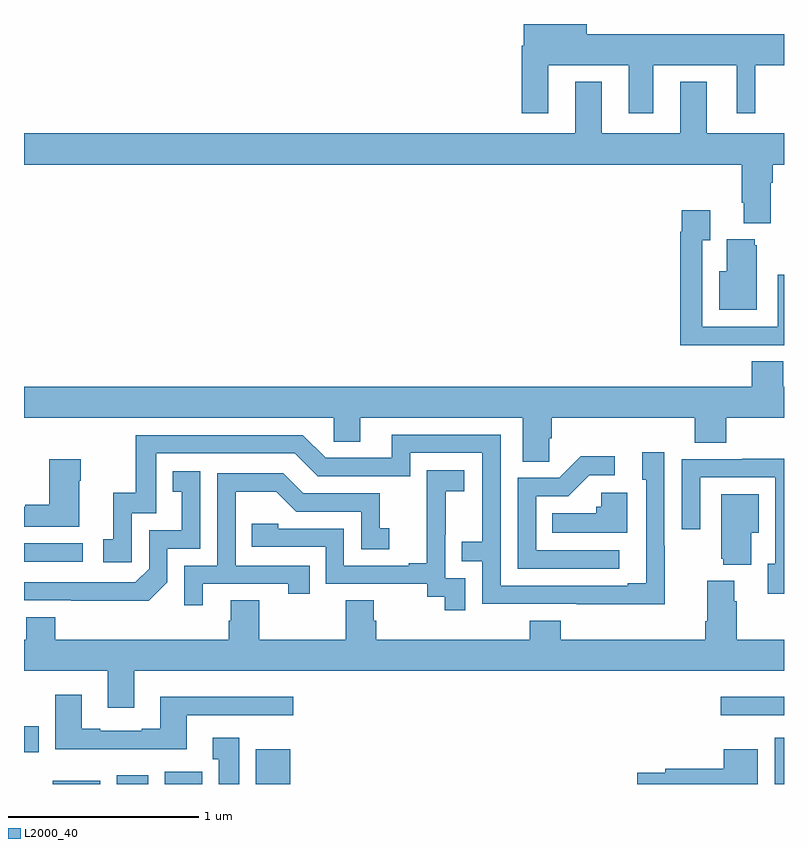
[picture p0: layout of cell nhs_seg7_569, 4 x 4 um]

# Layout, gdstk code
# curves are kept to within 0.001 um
import gdstk
lib = gdstk.Library(unit=1e-6, precision=1e-09)
def R(c, l, rs):  # rectangles x0, y0, x1, y1
    for r in rs: c.add(gdstk.rectangle(r[:2], r[2:], *l))
def P(c, l, *ps):  # polygons
    for p in ps: c.add(gdstk.Polygon(p, *l))
L2000_40 = (2000, 40)

nhs_seg7_569 = lib.new_cell('nhs_seg7_569')
R(nhs_seg7_569, L2000_40, [(155.15,1020,155.401,1020.016), (155.489,1020,155.653,1020.046), (155.741,1020,155.938,1020.064), (156.221,1020,156.4,1020.184), (158.951,1020,159,1020.244), (155,1020.166,155.077,1020.303), (158.667,1020.363,159,1020.46), (155,1021.17,155.308,1021.266)])
P(nhs_seg7_569, L2000_40, [(157.759,1023.782),(158.183,1023.782),(158.183,1023.531),(158.311,1023.531),(158.311,1023.782),(158.75,1023.782),(158.75,1023.531),(158.848,1023.531),(158.848,1023.782),(159,1023.782),(159,1023.946),(157.963,1023.946),(157.963,1024),(157.631,1024),(157.631,1023.886),(157.619,1023.886),(157.619,1023.531),(157.759,1023.531)],
  [(158.929,1023.164),(158.942,1023.164),(158.942,1023.26),(159,1023.26),(159,1023.424),(158.593,1023.424),(158.593,1023.697),(158.453,1023.697),(158.453,1023.424),(158.041,1023.424),(158.041,1023.697),(157.901,1023.697),(157.901,1023.424),(155,1023.424),(155,1023.26),(158.777,1023.26),(158.777,1023.058),(158.789,1023.058),(158.789,1022.951),(158.929,1022.951)],
  [(158.747,1022.31),(159,1022.31),(159,1022.68),(158.967,1022.68),(158.967,1022.406),(158.571,1022.406),(158.571,1022.863),(158.611,1022.863),(158.611,1023.019),(158.463,1023.019),(158.463,1022.906),(158.455,1022.906),(158.455,1022.309),(158.747,1022.309)],
  [(158.857,1022.835),(158.846,1022.835),(158.846,1022.866),(158.699,1022.866),(158.699,1022.698),(158.66,1022.698),(158.66,1022.495),(158.857,1022.495)],
  [(157.764,1021.819),(157.778,1021.819),(157.778,1021.928),(158.531,1021.928),(158.531,1021.795),(158.696,1021.795),(158.696,1021.928),(159,1021.928),(159,1022.092),(158.996,1022.092),(158.996,1022.225),(158.831,1022.225),(158.831,1022.092),(155,1022.092),(155,1021.928),(156.63,1021.928),(156.63,1021.801),(156.769,1021.801),(156.769,1021.928),(157.625,1021.928),(157.625,1021.696),(157.764,1021.696)],
  [(158.373,1021.253),(158.37,1021.253),(158.37,1021.747),(158.255,1021.747),(158.255,1021.602),(158.274,1021.602),(158.274,1021.057),(158.177,1021.057),(158.177,1021.044),(157.509,1021.044),(157.509,1021.839),(156.935,1021.839),(156.935,1021.716),(156.588,1021.716),(156.468,1021.836),(155.589,1021.836),(155.589,1021.534),(155.471,1021.534),(155.471,1021.287),(155.418,1021.287),(155.418,1021.167),(155.568,1021.167),(155.568,1021.425),(155.697,1021.425),(155.697,1021.74),(156.426,1021.74),(156.546,1021.62),(157.032,1021.62),(157.032,1021.743),(157.413,1021.743),(157.413,1021.274),(157.303,1021.274),(157.303,1021.173),(157.413,1021.173),(157.413,1020.948),(158.373,1020.947)],
  [(158.134,1021.23),(157.695,1021.23),(157.695,1021.515),(157.864,1021.515),(157.975,1021.626),(158.11,1021.626),(158.11,1021.724),(157.931,1021.724),(157.818,1021.611),(157.599,1021.611),(157.599,1021.134),(158.134,1021.134)],
  [(159,1021.712),(158.779,1021.712),(158.779,1021.71),(158.463,1021.71),(158.463,1021.341),(158.559,1021.341),(158.559,1021.614),(158.955,1021.614),(158.955,1021.158),(158.915,1021.158),(158.915,1021.002),(159,1021.002)],
  [(155.29,1021.595),(155.298,1021.595),(155.298,1021.708),(155.132,1021.708),(155.132,1021.469),(155.006,1021.469),(155.006,1021.459),(155,1021.459),(155,1021.355),(155.29,1021.355)],
  [(157.323,1021.083),(157.218,1021.083),(157.218,1021.313),(157.22,1021.313),(157.22,1021.541),(157.318,1021.541),(157.318,1021.651),(157.12,1021.651),(157.12,1021.445),(157.121,1021.445),(157.121,1021.162),(157.025,1021.162),(157.025,1021.149),(156.684,1021.149),(156.684,1021.344),(156.339,1021.344),(156.339,1021.371),(156.199,1021.371),(156.199,1021.248),(156.588,1021.248),(156.588,1021.053),(157.122,1021.053),(157.122,1020.985),(157.215,1020.985),(157.215,1020.915),(157.323,1020.915)],
  [(155.754,1021.062),(155.754,1021.239),(155.928,1021.239),(155.928,1021.645),(155.782,1021.645),(155.782,1021.539),(155.831,1021.539),(155.831,1021.335),(155.658,1021.335),(155.658,1021.134),(155.586,1021.062),(155,1021.062),(155,1020.966),(155.656,1020.965)],
  [(155.941,1021.053),(156.392,1021.053),(156.392,1021.002),(156.503,1021.002),(156.503,1021.149),(156.114,1021.149),(156.114,1021.538),(156.328,1021.538),(156.432,1021.434),(156.774,1021.434),(156.774,1021.236),(156.922,1021.236),(156.922,1021.345),(156.873,1021.345),(156.873,1021.53),(156.469,1021.53),(156.364,1021.635),(156.018,1021.635),(156.018,1021.149),(155.844,1021.149),(155.844,1020.942),(155.941,1020.942)],
  [(158.176,1021.534),(158.037,1021.534),(158.037,1021.458),(158.011,1021.458),(158.011,1021.426),(157.78,1021.426),(157.78,1021.322),(158.176,1021.322)],
  [(158.827,1021.322),(158.866,1021.322),(158.866,1021.525),(158.669,1021.525),(158.669,1021.185),(158.681,1021.185),(158.681,1021.154),(158.827,1021.154)],
  [(155.581,1020.596),(159,1020.596),(159,1020.76),(158.75,1020.76),(158.75,1020.962),(158.737,1020.962),(158.737,1021.069),(158.597,1021.069),(158.597,1020.856),(158.585,1020.856),(158.585,1020.76),(157.826,1020.76),(157.826,1020.859),(157.661,1020.859),(157.661,1020.76),(156.854,1020.76),(156.854,1020.858),(156.841,1020.858),(156.841,1020.968),(156.694,1020.968),(156.694,1020.76),(156.237,1020.76),(156.237,1020.968),(156.089,1020.968),(156.089,1020.858),(156.077,1020.858),(156.077,1020.76),(155.165,1020.76),(155.165,1020.877),(155.012,1020.877),(155.012,1020.76),(155,1020.76),(155,1020.596),(155.441,1020.596),(155.441,1020.402),(155.581,1020.402)],
  [(155.857,1020.363),(156.418,1020.363),(156.418,1020.46),(155.717,1020.46),(155.717,1020.292),(155.621,1020.292),(155.621,1020.279),(155.401,1020.279),(155.401,1020.292),(155.305,1020.292),(155.305,1020.469),(155.165,1020.469),(155.165,1020.182),(155.857,1020.182)],
  [(156.133,1020.244),(155.993,1020.244),(155.993,1020.131),(156.026,1020.131),(156.026,1020),(156.133,1020)],
  [(158.863,1020.184),(158.684,1020.184),(158.684,1020.08),(158.374,1020.08),(158.374,1020.06),(158.228,1020.06),(158.228,1020),(158.863,1020)])

lib.write_gds('nhs_seg7_569.gds')
